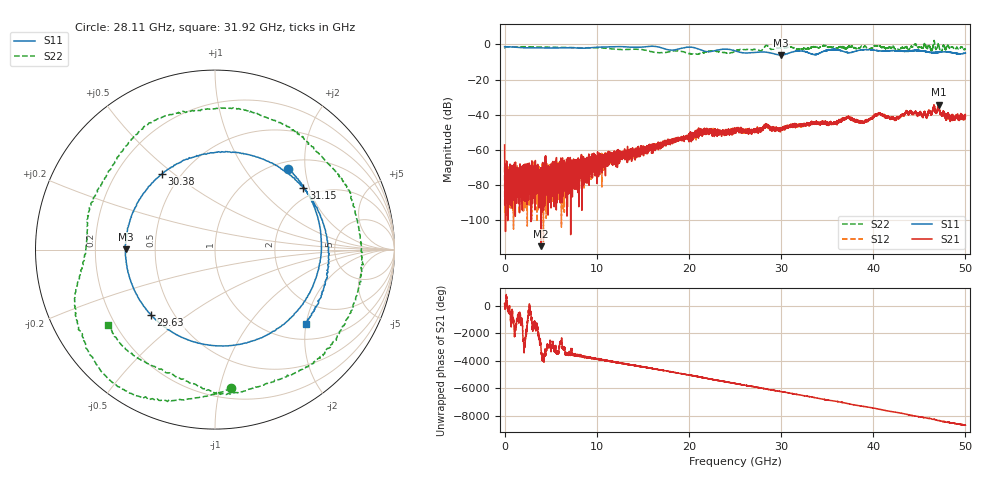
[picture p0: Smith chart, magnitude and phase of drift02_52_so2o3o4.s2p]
!Created with skrf (http://scikit-rf.org).
# Hz S RI R 50.0
!freq ReS11 ImS11 ReS21 ImS21 ReS12 ImS12 ReS22 ImS22
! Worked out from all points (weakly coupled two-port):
!   10001 points, 300 kHz to 50 GHz, reference 50 ohm
!   highest |S21| = -34.36 dB at 47.09 GHz (marker M1); lowest = -114.7 dB at 3.945 GHz (marker M2)
!   lowest |S11| = -6.1 dB at 29.97 GHz (marker M3), VSWR 2.98, Z = 16.8 + j0.0291 ohm
!   |S11| at or under -10 dB: nowhere
!   |S22| runs from -5.7 to 2.2 dB; largest |S21 - S12| = 0.0034
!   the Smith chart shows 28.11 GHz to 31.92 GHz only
!   S11 on the Smith chart (normalised r, x): 28.11 GHz: 1.14, +1.63; 29.63 GHz: 0.37, -0.37; 30.38 GHz: 0.40, +0.46; 31.15 GHz: 1.69, +1.83; 31.92 GHz: 1.39, -1.98
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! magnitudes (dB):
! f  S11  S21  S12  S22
! 300 kHz  -1.3  -57.2  -69.7  -2.1
! 285.3 MHz  -1.4  -79.0  -79.1  -1.4
! 3.945 GHz  -2.0  -114.7  -82.2  -1.5
! 8.335 GHz  -2.2  -67.3  -73.2  -1.9
! 16.67 GHz  -1.5  -55.5  -57.7  -4.7
! 21.58 GHz  -3.7  -50.3  -49.4  -4.7
! 25 GHz  -3.7  -48.5  -49.1  -3.9
! 28.11 GHz  -4.3  -46.7  -47.3  -2.2
! 29.63 GHz  -5.8  -48.5  -47.8  -2.2
! 29.97 GHz  -6.1  -47.9  -48.2  -2.1
! 30.38 GHz  -5.8  -47.3  -47.1  -1.9
! 31.15 GHz  -4.4  -46.3  -46.6  -1.6
! 31.92 GHz  -3.7  -46.5  -45.7  -2.8
! 33.34 GHz  -5.5  -45.0  -44.9  -1.6
! 35.63 GHz  -3.0  -45.2  -45.2  -1.5
! 37.28 GHz  -4.7  -41.3  -41.6  -1.4
! 38.85 GHz  -3.1  -44.4  -44.5  -1.3
! 40.66 GHz  -3.7  -39.4  -39.2  -0.8
! 41.67 GHz  -3.7  -41.1  -41.5  -1.9
! 47.09 GHz  -4.5  -34.4  -35.2  0.7
! 48.13 GHz  -4.3  -40.9  -39.9  -0.6
! 50 GHz  -4.9  -40.7  -39.6  -2.6
